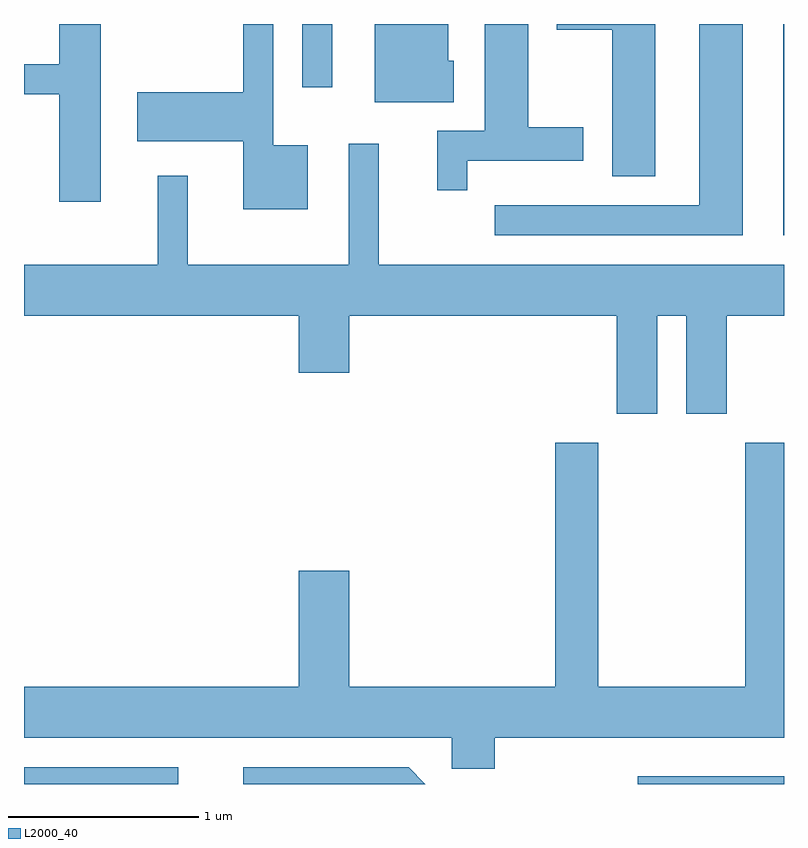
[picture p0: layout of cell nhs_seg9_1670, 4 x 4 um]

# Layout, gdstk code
import gdstk
lib = gdstk.Library(unit=1e-6, precision=1e-09)
def R(c, l, rs):  # rectangles x0, y0, x1, y1
    for r in rs: c.add(gdstk.rectangle(r[:2], r[2:], *l))
def P(c, l, *ps):  # polygons
    for p in ps: c.add(gdstk.Polygon(p, *l))
L2000_40 = (2000, 40)

nhs_seg9_1670 = lib.new_cell('nhs_seg9_1670')
R(nhs_seg9_1670, L2000_40, [(233.611,2020.432,234.424,2020.519), (236.841,2020.432,237.611,2020.474), (237.606,2023.321,237.611,2024.432), (235.076,2024.098,235.234,2024.432)])
P(nhs_seg9_1670, L2000_40, [(236.934,2024.432),(236.416,2024.432),(236.416,2024.401),(236.706,2024.401),(236.706,2023.631),(236.934,2023.631)],
  [(235.104,2023.794),(234.924,2023.794),(234.924,2024.432),(234.766,2024.432),(234.766,2024.074),(234.206,2024.074),(234.206,2023.816),(234.766,2023.816),(234.766,2023.456),(235.104,2023.456)],
  [(235.874,2024.239),(235.844,2024.239),(235.844,2024.432),(235.456,2024.432),(235.456,2024.021),(235.874,2024.021)],
  [(235.944,2023.711),(236.554,2023.711),(236.554,2023.889),(236.264,2023.889),(236.264,2024.432),(236.036,2024.432),(236.036,2023.869),(235.786,2023.869),(235.786,2023.558),(235.944,2023.558)],
  [(237.394,2024.432),(237.166,2024.432),(237.166,2023.479),(236.088,2023.479),(236.088,2023.321),(237.394,2023.321)],
  [(234.014,2024.432),(233.796,2024.432),(233.796,2024.219),(233.611,2024.219),(233.611,2024.061),(233.796,2024.061),(233.796,2023.496),(234.014,2023.496)],
  [(236.944,2022.896),(237.096,2022.896),(237.096,2022.381),(237.309,2022.381),(237.309,2022.896),(237.611,2022.896),(237.611,2023.164),(235.479,2023.164),(235.479,2023.803),(235.321,2023.803),(235.321,2023.164),(234.474,2023.164),(234.474,2023.633),(234.316,2023.633),(234.316,2023.164),(233.611,2023.164),(233.611,2022.896),(235.056,2022.896),(235.056,2022.596),(235.324,2022.596),(235.324,2022.896),(236.731,2022.896),(236.731,2022.381),(236.944,2022.381)],
  [(237.611,2022.229),(237.406,2022.229),(237.406,2020.944),(236.634,2020.944),(236.634,2022.229),(236.406,2022.229),(236.406,2020.944),(235.324,2020.944),(235.324,2021.554),(235.056,2021.554),(235.056,2020.944),(233.611,2020.944),(233.611,2020.676),(235.861,2020.676),(235.861,2020.511),(236.089,2020.511),(236.089,2020.676),(237.611,2020.676)],
  [(235.637,2020.519),(234.766,2020.519),(234.766,2020.432),(235.724,2020.432)])

lib.write_gds('nhs_seg9_1670.gds')
